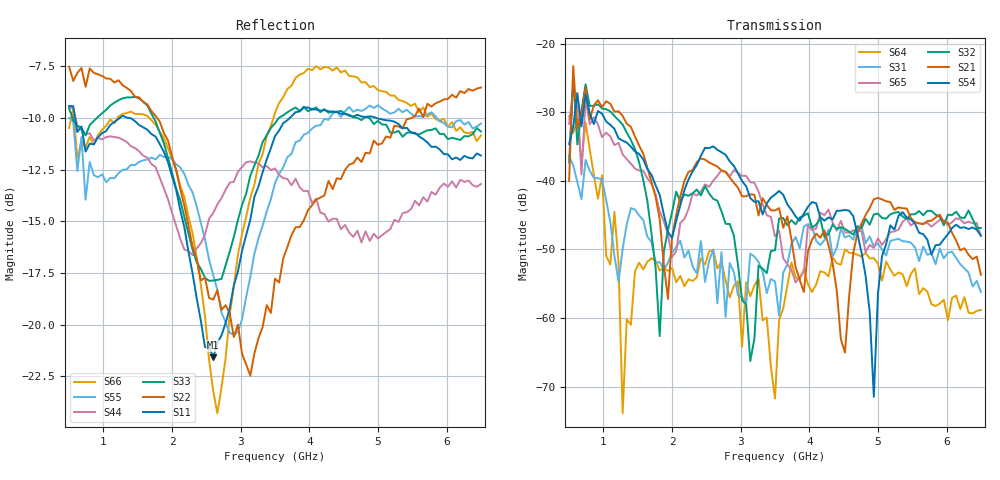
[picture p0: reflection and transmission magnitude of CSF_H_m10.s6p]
!Keysight Technologies,M9804A,MY58100912,A.14.10.03
!Date: Thursday, April 27, 2023 10:28:33
!Correction: S11(C  6-Port  )
!S12(C  6-Port  )
!S13(C  6-Port  )
!S14(C  6-Port  )
!S15(C  6-Port  )
!S16(C  6-Port  )
!S21(C  6-Port  )
!S22(C  6-Port  )
!S23(C  6-Port  )
!S24(C  6-Port  )
!S25(C  6-Port  )
!S26(C  6-Port  )
!S31(C  6-Port  )
!S32(C  6-Port  )
!S33(C  6-Port  )
!S34(C  6-Port  )
!S35(C  6-Port  )
!S36(C  6-Port  )
!S41(C  6-Port  )
!S42(C  6-Port  )
!S43(C  6-Port  )
!S44(C  6-Port  )
!S45(C  6-Port  )
!S46(C  6-Port  )
!S51(C  6-Port  )
!S52(C  6-Port  )
!S53(C  6-Port  )
!S54(C  6-Port  )
!S55(C  6-Port  )
!S56(C  6-Port  )
!S61(C  6-Port  )
!S62(C  6-Port  )
!S63(C  6-Port  )
!S64(C  6-Port  )
!S65(C  6-Port  )
!S66(C  6-Port  )
!S6P File: Measurement: :
# Hz S  RI  R 50
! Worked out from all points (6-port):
!   101 points, 500 MHz to 6.5 GHz, reference 50 ohm
!   strongest paths, dB at 500 MHz, 2 GHz, 3.5 GHz, 5 GHz, 6.5 GHz:
!     S54: -34.6, -48.3, -42.0, -56.5, -48.0
!     S21: -40.0, -48.3, -44.3, -42.5, -53.7
!     S32: -37.3, -44.6, -50.1, -44.8, -46.9
!     S65: -31.7, -51.1, -48.1, -48.4, -48.1
!     S31: -36.4, -50.5, -54.7, -49.1, -56.2
!     S64: -30.6, -52.7, -71.8, -52.1, -58.8
!   lowest |S11| = -21.6 dB at 2.6 GHz (marker M1), VSWR 1.18, Z = 42.6 + j2.05 ohm
!   |S11| at or under -10 dB: 587.5 MHz to 1.237 GHz (649.2 MHz wide, 71.2 % of centre); 1.383 GHz to 3.714 GHz (2.331 GHz wide, 91.5 % of centre); 4.978 GHz to end of sweep
